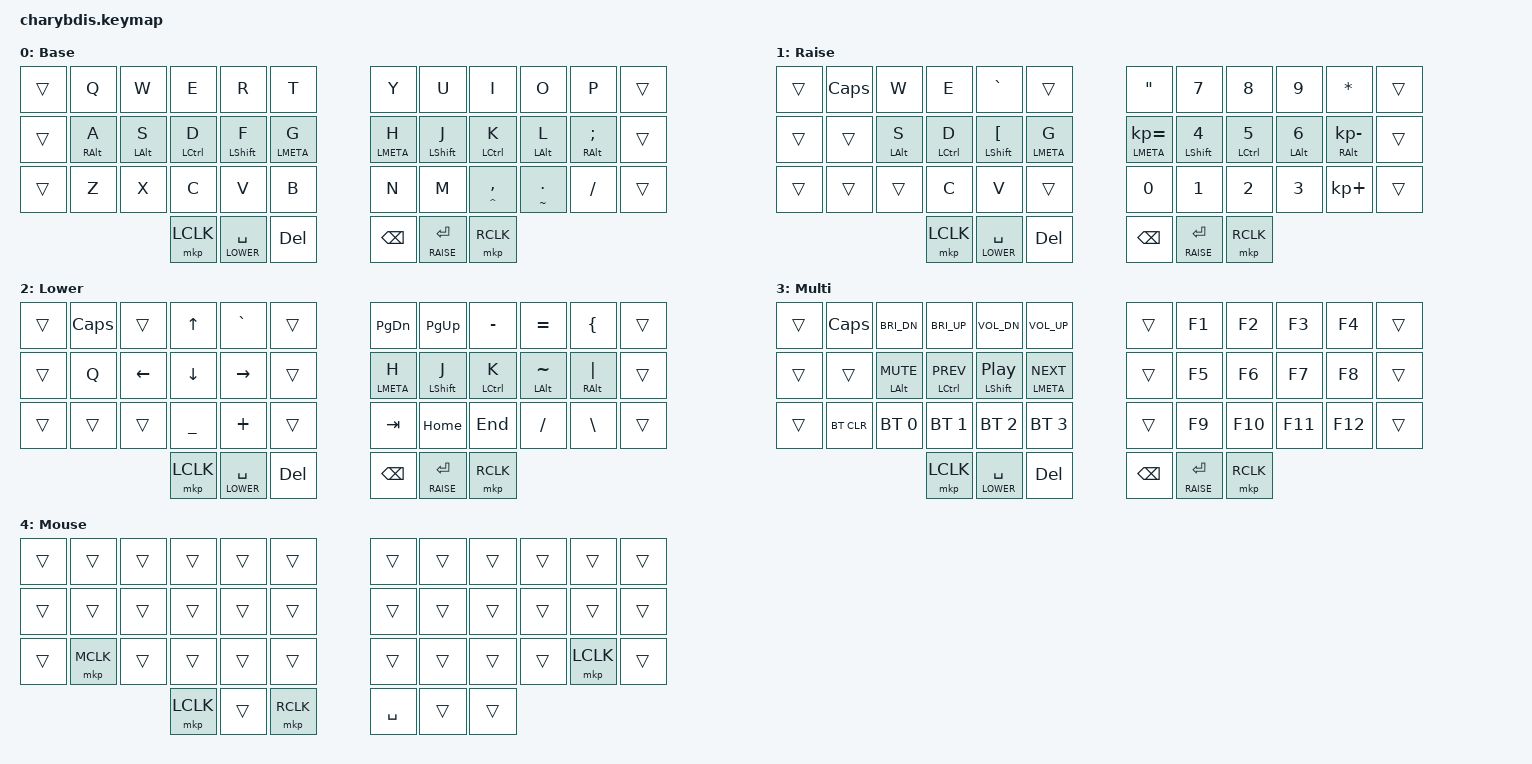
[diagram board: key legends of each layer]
#include <behaviors.dtsi>
#include <dt-bindings/zmk/keys.h>
#include <dt-bindings/zmk/bt.h>
#include <dt-bindings/zmk/ext_power.h>
#include <dt-bindings/zmk/mouse.h>
#include <dt-bindings/zmk/outputs.h>

#define DEFAULT 0
#define RAISE   1
#define LOWER   2
#define MULTI   3

/ {
    trackball_listener {
        compatible = "zmk,input-behavior-listener";
        device = <&vtrackball>;
        layers = <0 3 4 5>;
        evt-type = <INPUT_EV_REL>;
        x-input-code = <INPUT_REL_X>;
        y-input-code = <INPUT_REL_Y>;
        scale-multiplier = <1>;
        scale-divisor = <2>;
        bindings = <&ib_toggle_layer 5>;
    };

    trackball_snipe_listener {
        compatible = "zmk,input-behavior-listener";
        device = <&vtrackball>;
        layers = <>;
        evt-type = <INPUT_EV_REL>;
        x-input-code = <INPUT_REL_X>;
        y-input-code = <INPUT_REL_Y>;
        scale-multiplier = <1>;
        scale-divisor = <12>;
    };

    trackball_scroll_listener {
        compatible = "zmk,input-behavior-listener";
        device = <&vtrackball>;
        layers = <1 2>;
        evt-type = <INPUT_EV_REL>;
        x-input-code = <INPUT_REL_MISC>;
        y-input-code = <INPUT_REL_WHEEL>;
        y-invert;
        bindings = <&ib_wheel_scaler 1 16>;
    };

    trackball_hscroll_listener {
        compatible = "zmk,input-behavior-listener";
        device = <&vtrackball>;
        layers = <1 2>;
        evt-type = <INPUT_EV_REL>;
        x-input-code = <INPUT_REL_HWHEEL>;
        bindings = <&ib_hwheel_scaler 1 16>;
    };

    ib_wheel_scaler: ib_wheel_scaler {
        compatible = "zmk,input-behavior-scaler";
        #binding-cells = <2>;
        evt-type = <INPUT_EV_REL>;
        input-code = <INPUT_REL_WHEEL>;
    };

    ib_hwheel_scaler: ib_hwheel_scaler {
        compatible = "zmk,input-behavior-scaler";
        #binding-cells = <2>;
        evt-type = <INPUT_EV_REL>;
        input-code = <INPUT_REL_HWHEEL>;
    };

    ib_toggle_layer: ib_toggle_layer {
        compatible = "zmk,input-behavior-tog-layer";
        #binding-cells = <1>;
        time-to-live-ms = <750>;
    };

    behaviors {
        hm: homerow_mods {
            compatible = "zmk,behavior-hold-tap";
            label = "HOMEROW_MODS";
            #binding-cells = <2>;
            tapping-term-ms = <200>;
            quick-tap-ms = <125>;
            flavor = "tap-preferred";
            global-quick-tap;
            bindings = <&kp>, <&kp>;
        };
        lt: layer_tap {
            compatible = "zmk,behavior-hold-tap";
            #binding-cells = <2>;
            flavor = "balanced";
            tapping-term-ms = <240>;
            quick-tap-ms = <150>;
            bindings =
                <&mo>,
                <&kp>;
        };
    };
    conditional_layers {
        compatible = "zmk,conditional-layers";
        tri_layer {
            if-layers = <1 2>;
            then-layer = <3>;
        };
    };
    keymap {
        compatible = "zmk,keymap";

        Base {
//    ┏━━━━━━━━━━━━━━━┳━━━━━━━━━━━━━━━┳━━━━━━━━━━━━━━━┳━━━━━━━━━━━━━━━┳━━━━━━━━━━━━━━━┓  ┏━━━━━━━━━━━━━━━┳━━━━━━━━━━━━━━━┳━━━━━━━━━━━━━━━┳━━━━━━━━━━━━━━━┳━━━━━━━━━━━━━━━┓
//    ┃    CAPSLOCK   ┃               ┃               ┃               ┃               ┃  ┃               ┃               ┃               ┃               ┃               ┃
//    ┃      Q(')     ┃      W(,)     ┃      E(.)     ┃      R(P)     ┃      T(Y)     ┃  ┃      Y(F)     ┃      U(G)     ┃      I(C)     ┃      O(R)     ┃     P(L)      ┃
//    ┣━━━━━━━━━━━━━━━╋━━━━━━━━━━━━━━━╋━━━━━━━━━━━━━━━╋━━━━━━━━━━━━━━━╋━━━━━━━━━━━━━━━┫  ┣━━━━━━━━━━━━━━━╋━━━━━━━━━━━━━━━╋━━━━━━━━━━━━━━━╋━━━━━━━━━━━━━━━╋━━━━━━━━━━━━━━━┫
//    ┃      RALT     ┃      LALT     ┃      LCTRL    ┃     LSHIFT    ┃     LMETA     ┃  ┃     LMETA     ┃     LSHIFT    ┃     LCTRL     ┃      LALT     ┃     RALT      ┃
//    ┃      A(A)     ┃      S(O)     ┃      D(E)     ┃      F(U)     ┃      G(I)     ┃  ┃      H(D)     ┃      J(H)     ┃     K(T)      ┃      L(N)     ┃     ;(S)      ┃
//    ┣━━━━━━━━━━━━━━━╋━━━━━━━━━━━━━━━╋━━━━━━━━━━━━━━━╋━━━━━━━━━━━━━━━╋━━━━━━━━━━━━━━━┫  ┣━━━━━━━━━━━━━━━╋━━━━━━━━━━━━━━━╋━━━━━━━━━━━━━━━╋━━━━━━━━━━━━━━━╋━━━━━━━━━━━━━━━┫
//    ┃               ┃               ┃               ┃               ┃               ┃  ┃               ┃               ┃       ^       ┃       ~       ┃               ┃
//    ┃      Z(;)     ┃      X(Q)     ┃      C(J)     ┃      V(K)     ┃      B(X)     ┃  ┃      N(B)     ┃      M(M)     ┃     ,(W)      ┃      .(V)     ┃     /(Z)      ┃
//    ┗━━━━━━━━━━━━━━━┻━━━━━━━━━━━━━━━╋━━━━━━━━━━━━━━━╋━━━━━━━━━━━━━━━╋━━━━━━━━━━━━━━━┫  ┣━━━━━━━━━━━━━━━╋━━━━━━━━━━━━━━━╋━━━━━━━━━━━━━━━╋━━━━━━━━━━━━━━━┻━━━━━━━━━━━━━━━┛
//                                    ┃               ┃     LOWER     ┃               ┃  ┃               ┃     RAISE     ┃               ┃
//                                    ┃      LCLK     ┃     SPACE     ┃      DEL      ┃  ┃      BSPC     ┃      RET      ┃     RCLK      ┃
//                                    ┗━━━━━━━━━━━━━━━┻━━━━━━━━━━━━━━━┻━━━━━━━━━━━━━━━┛  ┗━━━━━━━━━━━━━━━┻━━━━━━━━━━━━━━━┻━━━━━━━━━━━━━━━┛
            label = "Base";
            bindings = <
//    ┏━━━━━━━━━━━━━━━┳━━━━━━━━━━━━━━━┳━━━━━━━━━━━━━━━┳━━━━━━━━━━━━━━━┳━━━━━━━━━━━━━━━┓  ┏━━━━━━━━━━━━━━━┳━━━━━━━━━━━━━━━┳━━━━━━━━━━━━━━━┳━━━━━━━━━━━━━━━┳━━━━━━━━━━━━━━━┓
//    ┃               ┃               ┃               ┃               ┃               ┃  ┃               ┃               ┃               ┃               ┃               ┃
//    ┃      Q(')     ┃      W(,)     ┃      E(.)     ┃      R(P)     ┃      T(Y)     ┃  ┃      Y(F)     ┃      U(G)     ┃      I(C)     ┃      O(R)     ┃     P(L)      ┃
&trans      &kp Q           &kp W           &kp E           &kp R           &kp T              &kp Y           &kp U           &kp I           &kp O          &kp P       &trans
//    ┣━━━━━━━━━━━━━━━╋━━━━━━━━━━━━━━━╋━━━━━━━━━━━━━━━╋━━━━━━━━━━━━━━━╋━━━━━━━━━━━━━━━┫  ┣━━━━━━━━━━━━━━━╋━━━━━━━━━━━━━━━╋━━━━━━━━━━━━━━━╋━━━━━━━━━━━━━━━╋━━━━━━━━━━━━━━━┫
//    ┃      RALT     ┃      LALT     ┃      LCTRL    ┃     LSHIFT    ┃     LMETA     ┃  ┃     LMETA     ┃     LSHIFT    ┃     LCTRL     ┃      LALT     ┃     RALT      ┃
//    ┃      A(A)     ┃      S(O)     ┃      D(E)     ┃      F(U)     ┃      G(I)     ┃  ┃      H(D)     ┃      J(H)     ┃     K(T)      ┃      L(N)     ┃     ;(S)      ┃
&trans   &hm RALT A      &hm LALT S      &hm LCTRL D    &hm LSHIFT F    &hm LMETA G        &hm LMETA H     &hm LSHIFT J    &hm LCTRL  K     &hm LALT L     &hm RALT SEMI   &trans
//    ┣━━━━━━━━━━━━━━━╋━━━━━━━━━━━━━━━╋━━━━━━━━━━━━━━━╋━━━━━━━━━━━━━━━╋━━━━━━━━━━━━━━━┫  ┣━━━━━━━━━━━━━━━╋━━━━━━━━━━━━━━━╋━━━━━━━━━━━━━━━╋━━━━━━━━━━━━━━━╋━━━━━━━━━━━━━━━┫
//    ┃               ┃               ┃               ┃               ┃               ┃  ┃               ┃               ┃       ^       ┃       ~       ┃               ┃
//    ┃      Z(;)     ┃      X(Q)     ┃      C(J)     ┃      V(K)     ┃      B(X)     ┃  ┃      N(B)     ┃      M(M)     ┃     ,(W)      ┃      .(V)     ┃     /(Z)      ┃
&trans   &kp Z           &kp X           &kp C           &kp V           &kp B              &kp N           &kp M         &hm CARET COMMA  &hm TILDE DOT     &kp FSLH      &trans
//    ┗━━━━━━━━━━━━━━━┻━━━━━━━━━━━━━━━╋━━━━━━━━━━━━━━━╋━━━━━━━━━━━━━━━╋━━━━━━━━━━━━━━━┫  ┣━━━━━━━━━━━━━━━╋━━━━━━━━━━━━━━━╋━━━━━━━━━━━━━━━╋━━━━━━━━━━━━━━━┻━━━━━━━━━━━━━━━┛
//                                    ┃               ┃     LOWER     ┃               ┃  ┃               ┃     RAISE     ┃               ┃
//                                    ┃      LCLK     ┃     SPACE     ┃      DEL      ┃  ┃      BSPC     ┃      RET      ┃     RCLK      ┃
                                        &mkp LCLK    &lt LOWER SPACE     &kp DEL            &kp BSPC       &lt RAISE RET  &mkp RCLK
//                                    ┗━━━━━━━━━━━━━━━┻━━━━━━━━━━━━━━━┻━━━━━━━━━━━━━━━┛  ┗━━━━━━━━━━━━━━━┻━━━━━━━━━━━━━━━┻━━━━━━━━━━━━━━━┛
            >;
        };

        raise_layer {
//    ┏━━━━━━━━━━━━━━━┳━━━━━━━━━━━━━━━┳━━━━━━━━━━━━━━━┳━━━━━━━━━━━━━━━┳━━━━━━━━━━━━━━━┓  ┏━━━━━━━━━━━━━━━┳━━━━━━━━━━━━━━━┳━━━━━━━━━━━━━━━┳━━━━━━━━━━━━━━━┳━━━━━━━━━━━━━━━┓
//    ┃               ┃               ┃               ┃               ┃               ┃  ┃               ┃               ┃               ┃               ┃               ┃
//    ┃    CAPSLOCK   ┃      W(,)     ┃      E(.)     ┃       `       ┃               ┃  ┃     "(_)      ┃       N7      ┃       N8      ┃       N9      ┃       *       ┃
//    ┣━━━━━━━━━━━━━━━╋━━━━━━━━━━━━━━━╋━━━━━━━━━━━━━━━╋━━━━━━━━━━━━━━━╋━━━━━━━━━━━━━━━┫  ┣━━━━━━━━━━━━━━━╋━━━━━━━━━━━━━━━╋━━━━━━━━━━━━━━━╋━━━━━━━━━━━━━━━╋━━━━━━━━━━━━━━━┫
//    ┃               ┃      LALT     ┃      LCTRL    ┃     LSHIFT    ┃     LMETA     ┃  ┃     LMETA     ┃     LSHIFT    ┃     LCTRL     ┃      LALT     ┃     RALT      ┃
//    ┃               ┃      S(O)     ┃      D(E)     ┃      [(/)     ┃      G(I)     ┃  ┃       =       ┃       N4      ┃       N5      ┃       N6      ┃      -        ┃
//    ┣━━━━━━━━━━━━━━━╋━━━━━━━━━━━━━━━╋━━━━━━━━━━━━━━━╋━━━━━━━━━━━━━━━╋━━━━━━━━━━━━━━━┫  ┣━━━━━━━━━━━━━━━╋━━━━━━━━━━━━━━━╋━━━━━━━━━━━━━━━╋━━━━━━━━━━━━━━━╋━━━━━━━━━━━━━━━┫
//    ┃               ┃               ┃               ┃               ┃               ┃  ┃               ┃               ┃               ┃               ┃               ┃
//    ┃               ┃               ┃      C(J)     ┃      V(K)     ┃               ┃  ┃       N0      ┃       N1      ┃       N2      ┃       N3      ┃      [(+)     ┃
//    ┗━━━━━━━━━━━━━━━┻━━━━━━━━━━━━━━━╋━━━━━━━━━━━━━━━╋━━━━━━━━━━━━━━━╋━━━━━━━━━━━━━━━┫  ┣━━━━━━━━━━━━━━━╋━━━━━━━━━━━━━━━╋━━━━━━━━━━━━━━━╋━━━━━━━━━━━━━━━┻━━━━━━━━━━━━━━━┛
//                                    ┃               ┃               ┃               ┃  ┃               ┃               ┃               ┃
//                                    ┃      LCLK     ┃     SPACE     ┃      DEL      ┃  ┃      BSPC     ┃      RET      ┃     RCLK      ┃
//                                    ┗━━━━━━━━━━━━━━━┻━━━━━━━━━━━━━━━┻━━━━━━━━━━━━━━━┛  ┗━━━━━━━━━━━━━━━┻━━━━━━━━━━━━━━━┻━━━━━━━━━━━━━━━┛
                        label = "Raise";
                        bindings = <
//    ┏━━━━━━━━━━━━━━━┳━━━━━━━━━━━━━━━┳━━━━━━━━━━━━━━━┳━━━━━━━━━━━━━━━┳━━━━━━━━━━━━━━━┓  ┏━━━━━━━━━━━━━━━┳━━━━━━━━━━━━━━━┳━━━━━━━━━━━━━━━┳━━━━━━━━━━━━━━━┳━━━━━━━━━━━━━━━┓
//    ┃               ┃               ┃               ┃               ┃               ┃  ┃               ┃               ┃               ┃               ┃               ┃
//    ┃    CAPSLOCK   ┃      W(,)     ┃      E(.)     ┃       `       ┃               ┃  ┃     "(_)      ┃       N7      ┃       N8      ┃       N9      ┃       *       ┃
&trans &kp CAPSLOCK         &kp W           &kp E          &kp GRAVE        &trans           &kp DQT          &kp N7          &kp N8          &kp N9         &kp STAR       &trans
//    ┣━━━━━━━━━━━━━━━╋━━━━━━━━━━━━━━━╋━━━━━━━━━━━━━━━╋━━━━━━━━━━━━━━━╋━━━━━━━━━━━━━━━┫  ┣━━━━━━━━━━━━━━━╋━━━━━━━━━━━━━━━╋━━━━━━━━━━━━━━━╋━━━━━━━━━━━━━━━╋━━━━━━━━━━━━━━━┫
//    ┃               ┃      LALT     ┃      LCTRL    ┃     LSHIFT    ┃     LMETA     ┃  ┃     LMETA     ┃     LSHIFT    ┃     LCTRL     ┃      LALT     ┃     RALT      ┃
//    ┃               ┃      S(O)     ┃      D(E)     ┃      [(/)     ┃      G(I)     ┃  ┃       =       ┃       N4      ┃       N5      ┃       N6      ┃      -        ┃
&trans     &trans        &hm LALT S      &hm LCTRL D     &hm LSHIFT LBKT  &hm LMETA G     &hm LMETA KP_EQUAL &hm LSHIFT N4   &hm LCTRL N5    &hm LALT N6  &hm RALT KP_MINUS  &trans
//    ┣━━━━━━━━━━━━━━━╋━━━━━━━━━━━━━━━╋━━━━━━━━━━━━━━━╋━━━━━━━━━━━━━━━╋━━━━━━━━━━━━━━━┫  ┣━━━━━━━━━━━━━━━╋━━━━━━━━━━━━━━━╋━━━━━━━━━━━━━━━╋━━━━━━━━━━━━━━━╋━━━━━━━━━━━━━━━┫
//    ┃               ┃               ┃               ┃               ┃               ┃  ┃               ┃               ┃               ┃               ┃               ┃
//    ┃               ┃               ┃      C(J)     ┃      V(K)     ┃               ┃  ┃       N0      ┃       N1      ┃       N2      ┃       N3      ┃      [(+)     ┃
&trans     &trans           &trans         &kp C           &kp V           &trans            &kp N0          &kp N1          &kp N2          &kp N3         &kp KP_PLUS     &trans
//    ┗━━━━━━━━━━━━━━━┻━━━━━━━━━━━━━━━╋━━━━━━━━━━━━━━━╋━━━━━━━━━━━━━━━╋━━━━━━━━━━━━━━━┫  ┣━━━━━━━━━━━━━━━╋━━━━━━━━━━━━━━━╋━━━━━━━━━━━━━━━╋━━━━━━━━━━━━━━━┻━━━━━━━━━━━━━━━┛
//                                    ┃               ┃               ┃               ┃  ┃               ┃               ┃               ┃
//                                    ┃      LCLK     ┃     SPACE     ┃      DEL      ┃  ┃      BSPC     ┃      RET      ┃     RCLK      ┃
                                        &mkp LCLK    &lt LOWER SPACE     &kp DEL            &kp BSPC       &lt RAISE RET  &mkp RCLK
//                                    ┗━━━━━━━━━━━━━━━┻━━━━━━━━━━━━━━━┻━━━━━━━━━━━━━━━┛  ┗━━━━━━━━━━━━━━━┻━━━━━━━━━━━━━━━┻━━━━━━━━━━━━━━━┛
                        >;
                };

        lower_layer {
//    ┏━━━━━━━━━━━━━━━┳━━━━━━━━━━━━━━━┳━━━━━━━━━━━━━━━┳━━━━━━━━━━━━━━━┳━━━━━━━━━━━━━━━┓  ┏━━━━━━━━━━━━━━━┳━━━━━━━━━━━━━━━┳━━━━━━━━━━━━━━━┳━━━━━━━━━━━━━━━┳━━━━━━━━━━━━━━━┓
//    ┃               ┃               ┃               ┃               ┃               ┃  ┃               ┃               ┃               ┃               ┃               ┃
//    ┃    CAPSLOCK   ┃               ┃       ↑       ┃       `       ┃               ┃  ┃   PAGE DOWN   ┃    PAGE UP    ┃      -([)     ┃      =(])     ┃     `(?)      ┃
//    ┣━━━━━━━━━━━━━━━╋━━━━━━━━━━━━━━━╋━━━━━━━━━━━━━━━╋━━━━━━━━━━━━━━━╋━━━━━━━━━━━━━━━┫  ┣━━━━━━━━━━━━━━━╋━━━━━━━━━━━━━━━╋━━━━━━━━━━━━━━━╋━━━━━━━━━━━━━━━╋━━━━━━━━━━━━━━━┫
//    ┃               ┃               ┃               ┃               ┃               ┃  ┃     LMETA     ┃     LSHIFT    ┃     LCTRL     ┃      LALT     ┃     RALT      ┃
//    ┃      Q(")     ┃       ←       ┃       ↓       ┃       →       ┃               ┃  ┃               ┃               ┃               ┃      ~(-)     ┃      |        ┃
//    ┣━━━━━━━━━━━━━━━╋━━━━━━━━━━━━━━━╋━━━━━━━━━━━━━━━╋━━━━━━━━━━━━━━━╋━━━━━━━━━━━━━━━┫  ┣━━━━━━━━━━━━━━━╋━━━━━━━━━━━━━━━╋━━━━━━━━━━━━━━━╋━━━━━━━━━━━━━━━╋━━━━━━━━━━━━━━━┫
//    ┃               ┃               ┃               ┃               ┃               ┃  ┃               ┃               ┃               ┃               ┃               ┃
//    ┃               ┃               ┃      _({)     ┃     +(})      ┃               ┃  ┃      TAB      ┃      HOME     ┃      END      ┃       (/)     ┃      (\)      ┃
//    ┗━━━━━━━━━━━━━━━┻━━━━━━━━━━━━━━━╋━━━━━━━━━━━━━━━╋━━━━━━━━━━━━━━━╋━━━━━━━━━━━━━━━┫  ┣━━━━━━━━━━━━━━━╋━━━━━━━━━━━━━━━╋━━━━━━━━━━━━━━━╋━━━━━━━━━━━━━━━┻━━━━━━━━━━━━━━━┛
//                                    ┃               ┃               ┃               ┃  ┃               ┃               ┃               ┃
//                                    ┃               ┃               ┃               ┃  ┃               ┃               ┃               ┃
//                                    ┗━━━━━━━━━━━━━━━┻━━━━━━━━━━━━━━━┻━━━━━━━━━━━━━━━┛  ┗━━━━━━━━━━━━━━━┻━━━━━━━━━━━━━━━┻━━━━━━━━━━━━━━━┛
                        label = "Lower";
                        bindings = <
							// incluir `
//    ┏━━━━━━━━━━━━━━━┳━━━━━━━━━━━━━━━┳━━━━━━━━━━━━━━━┳━━━━━━━━━━━━━━━┳━━━━━━━━━━━━━━━┓  ┏━━━━━━━━━━━━━━━┳━━━━━━━━━━━━━━━┳━━━━━━━━━━━━━━━┳━━━━━━━━━━━━━━━┳━━━━━━━━━━━━━━━┓
//    ┃               ┃               ┃               ┃               ┃               ┃  ┃               ┃               ┃               ┃               ┃               ┃
//    ┃    CAPSLOCK   ┃               ┃       ↑       ┃       `       ┃               ┃  ┃   PAGE DOWN   ┃    PAGE UP    ┃      -([)     ┃      =(])     ┃     `(?)      ┃
&trans &kp CAPSLOCK        &trans          &kp UP          &kp GRAVE       &trans            &kp PG_DN        &kp PG_UP      &kp MINUS     &kp EQUAL       &kp LBRC       &trans
//    ┣━━━━━━━━━━━━━━━╋━━━━━━━━━━━━━━━╋━━━━━━━━━━━━━━━╋━━━━━━━━━━━━━━━╋━━━━━━━━━━━━━━━┫  ┣━━━━━━━━━━━━━━━╋━━━━━━━━━━━━━━━╋━━━━━━━━━━━━━━━╋━━━━━━━━━━━━━━━╋━━━━━━━━━━━━━━━┫
//    ┃               ┃               ┃               ┃               ┃               ┃  ┃     LMETA     ┃     LSHIFT    ┃     LCTRL     ┃      LALT     ┃     RALT      ┃
//    ┃      Q(")     ┃       ←       ┃       ↓       ┃       →       ┃               ┃  ┃               ┃               ┃               ┃      ~(-)     ┃      |        ┃
&trans      &kp Q         &kp LEFT        &kp DOWN        &kp RIGHT        &trans           &hm LMETA  H    &hm LSHIFT J     &hm LCTRL K  &hm LALT TILDE   &hm RALT PIPE    &trans
//    ┣━━━━━━━━━━━━━━━╋━━━━━━━━━━━━━━━╋━━━━━━━━━━━━━━━╋━━━━━━━━━━━━━━━╋━━━━━━━━━━━━━━━┫  ┣━━━━━━━━━━━━━━━╋━━━━━━━━━━━━━━━╋━━━━━━━━━━━━━━━╋━━━━━━━━━━━━━━━╋━━━━━━━━━━━━━━━┫
//    ┃               ┃               ┃               ┃               ┃               ┃  ┃               ┃               ┃               ┃               ┃               ┃
//    ┃               ┃               ┃      _({)     ┃     +(})      ┃               ┃  ┃      TAB      ┃      HOME     ┃      END      ┃       (/)     ┃      (\)      ┃
&trans      &trans         &trans         &kp UNDER       &kp PLUS         &trans            &kp TAB         &kp HOME        &kp END         &kp FSLH        &kp BSLH       &trans
//    ┗━━━━━━━━━━━━━━━┻━━━━━━━━━━━━━━━╋━━━━━━━━━━━━━━━╋━━━━━━━━━━━━━━━╋━━━━━━━━━━━━━━━┫  ┣━━━━━━━━━━━━━━━╋━━━━━━━━━━━━━━━╋━━━━━━━━━━━━━━━╋━━━━━━━━━━━━━━━┻━━━━━━━━━━━━━━━┛
//                                    ┃               ┃               ┃               ┃  ┃               ┃               ┃               ┃
//                                    ┃      LCLK     ┃     SPACE     ┃      DEL      ┃  ┃      BSPC     ┃      RET      ┃     RCLK      ┃
                                        &mkp LCLK    &lt LOWER SPACE     &kp DEL            &kp BSPC       &lt RAISE RET  &mkp RCLK
//                                    ┗━━━━━━━━━━━━━━━┻━━━━━━━━━━━━━━━┻━━━━━━━━━━━━━━━┛  ┗━━━━━━━━━━━━━━━┻━━━━━━━━━━━━━━━┻━━━━━━━━━━━━━━━┛
                        >;
                };

        multi_layer {
//    ┏━━━━━━━━━━━━━━━┳━━━━━━━━━━━━━━━┳━━━━━━━━━━━━━━━┳━━━━━━━━━━━━━━━┳━━━━━━━━━━━━━━━┓  ┏━━━━━━━━━━━━━━━┳━━━━━━━━━━━━━━━┳━━━━━━━━━━━━━━━┳━━━━━━━━━━━━━━━┳━━━━━━━━━━━━━━━┓
//    ┃               ┃               ┃               ┃               ┃               ┃  ┃               ┃               ┃               ┃               ┃               ┃
//    ┃    CAPSLOCK   ┃    C_BRI_DN   ┃    C_BRI_UP   ┃    C_VOL_DN   ┃    C_VOL_UP   ┃  ┃               ┃      F1       ┃      F2       ┃       F3      ┃       F4      ┃
//    ┣━━━━━━━━━━━━━━━╋━━━━━━━━━━━━━━━╋━━━━━━━━━━━━━━━╋━━━━━━━━━━━━━━━╋━━━━━━━━━━━━━━━┫  ┣━━━━━━━━━━━━━━━╋━━━━━━━━━━━━━━━╋━━━━━━━━━━━━━━━╋━━━━━━━━━━━━━━━╋━━━━━━━━━━━━━━━┫
//    ┃               ┃      LALT     ┃      LCTRL    ┃     LSHIFT    ┃     LMETA     ┃  ┃               ┃               ┃               ┃               ┃               ┃
//    ┃               ┃     C_MUTE    ┃     C_PREV    ┃  C_PLAY_PAUSE ┃     C_NEXT    ┃  ┃               ┃      F5       ┃      F6       ┃       F7      ┃       F8      ┃
//    ┣━━━━━━━━━━━━━━━╋━━━━━━━━━━━━━━━╋━━━━━━━━━━━━━━━╋━━━━━━━━━━━━━━━╋━━━━━━━━━━━━━━━┫  ┣━━━━━━━━━━━━━━━╋━━━━━━━━━━━━━━━╋━━━━━━━━━━━━━━━╋━━━━━━━━━━━━━━━╋━━━━━━━━━━━━━━━┫
//    ┃               ┃               ┃               ┃               ┃               ┃  ┃               ┃               ┃               ┃               ┃               ┃
//    ┃     BT_CLR    ┃    BT_SEL 0   ┃    BT_SEL 1   ┃    BT_SEL 2   ┃    BT_SEL 3   ┃  ┃               ┃      F9       ┃     F10       ┃       F11     ┃      F12      ┃
//    ┗━━━━━━━━━━━━━━━┻━━━━━━━━━━━━━━━╋━━━━━━━━━━━━━━━╋━━━━━━━━━━━━━━━╋━━━━━━━━━━━━━━━┫  ┣━━━━━━━━━━━━━━━╋━━━━━━━━━━━━━━━╋━━━━━━━━━━━━━━━╋━━━━━━━━━━━━━━━┻━━━━━━━━━━━━━━━┛
//                                    ┃               ┃               ┃               ┃  ┃               ┃               ┃               ┃
//                                    ┃      LCLK     ┃     SPACE     ┃      DEL      ┃  ┃      BSPC     ┃      RET      ┃      RCLK     ┃
//                                    ┗━━━━━━━━━━━━━━━┻━━━━━━━━━━━━━━━┻━━━━━━━━━━━━━━━┛  ┗━━━━━━━━━━━━━━━┻━━━━━━━━━━━━━━━┻━━━━━━━━━━━━━━━┛
                        label = "Multi";
                        bindings = <
//    ┏━━━━━━━━━━━━━━━┳━━━━━━━━━━━━━━━┳━━━━━━━━━━━━━━━┳━━━━━━━━━━━━━━━┳━━━━━━━━━━━━━━━┓  ┏━━━━━━━━━━━━━━━┳━━━━━━━━━━━━━━━┳━━━━━━━━━━━━━━━┳━━━━━━━━━━━━━━━┳━━━━━━━━━━━━━━━┓
//    ┃               ┃               ┃               ┃               ┃               ┃  ┃               ┃               ┃               ┃               ┃               ┃
//    ┃    CAPSLOCK   ┃    C_BRI_DN   ┃    C_BRI_UP   ┃    C_VOL_DN   ┃    C_VOL_UP   ┃  ┃               ┃      F1       ┃      F2       ┃       F3      ┃       F4      ┃
&trans  &kp CAPSLOCK   &kp C_BRI_DN    &kp C_BRI_UP    &kp C_VOL_DN    &kp C_VOL_UP            &trans         &kp F1          &kp F2           &kp F3          &kp F4      &trans
//    ┣━━━━━━━━━━━━━━━╋━━━━━━━━━━━━━━━╋━━━━━━━━━━━━━━━╋━━━━━━━━━━━━━━━╋━━━━━━━━━━━━━━━┫  ┣━━━━━━━━━━━━━━━╋━━━━━━━━━━━━━━━╋━━━━━━━━━━━━━━━╋━━━━━━━━━━━━━━━╋━━━━━━━━━━━━━━━┫
//    ┃               ┃      LALT     ┃      LCTRL    ┃     LSHIFT    ┃     LMETA     ┃  ┃               ┃               ┃               ┃               ┃               ┃
//    ┃               ┃     C_MUTE    ┃     C_PREV    ┃  C_PLAY_PAUSE ┃     C_NEXT    ┃  ┃               ┃      F5       ┃      F6       ┃       F7      ┃       F8      ┃
&trans      &trans     &hm LALT C_MUTE &hm LCTRL C_PREV &hm LSHIFT C_PLAY_PAUSE &hm LMETA C_NEXT &trans       &kp F5          &kp F6           &kp F7          &kp F8      &trans
//    ┣━━━━━━━━━━━━━━━╋━━━━━━━━━━━━━━━╋━━━━━━━━━━━━━━━╋━━━━━━━━━━━━━━━╋━━━━━━━━━━━━━━━┫  ┣━━━━━━━━━━━━━━━╋━━━━━━━━━━━━━━━╋━━━━━━━━━━━━━━━╋━━━━━━━━━━━━━━━╋━━━━━━━━━━━━━━━┫
//    ┃               ┃               ┃               ┃               ┃               ┃  ┃               ┃               ┃               ┃               ┃               ┃
//    ┃     BT_CLR    ┃    BT_SEL 0   ┃    BT_SEL 1   ┃    BT_SEL 2   ┃    BT_SEL 3   ┃  ┃               ┃      F9       ┃     F10       ┃       F11     ┃      F12      ┃
&trans   &bt BT_CLR      &bt BT_SEL 0    &bt BT_SEL 1    &bt BT_SEL 2    &bt BT_SEL 3          &trans         &kp F9         &kp F10           &kp F11        &kp F12      &trans
//    ┗━━━━━━━━━━━━━━━┻━━━━━━━━━━━━━━━╋━━━━━━━━━━━━━━━╋━━━━━━━━━━━━━━━╋━━━━━━━━━━━━━━━┫  ┣━━━━━━━━━━━━━━━╋━━━━━━━━━━━━━━━╋━━━━━━━━━━━━━━━╋━━━━━━━━━━━━━━━┻━━━━━━━━━━━━━━━┛
//                                    ┃               ┃               ┃               ┃  ┃               ┃               ┃               ┃
//                                    ┃      LCLK     ┃     SPACE     ┃      DEL      ┃  ┃      BSPC     ┃      RET      ┃      RCLK     ┃
                                        &mkp LCLK    &lt LOWER SPACE     &kp DEL            &kp BSPC       &lt RAISE RET   &mkp RCLK
//                                    ┗━━━━━━━━━━━━━━━┻━━━━━━━━━━━━━━━┻━━━━━━━━━━━━━━━┛  ┗━━━━━━━━━━━━━━━┻━━━━━━━━━━━━━━━┻━━━━━━━━━━━━━━━┛
                        >;
                };

        Mouse {
//    ┏━━━━━━━━━━━━━━━┳━━━━━━━━━━━━━━━┳━━━━━━━━━━━━━━━┳━━━━━━━━━━━━━━━┳━━━━━━━━━━━━━━━┓  ┏━━━━━━━━━━━━━━━┳━━━━━━━━━━━━━━━┳━━━━━━━━━━━━━━━┳━━━━━━━━━━━━━━━┳━━━━━━━━━━━━━━━┓
//    ┃               ┃               ┃               ┃               ┃               ┃  ┃               ┃               ┃               ┃               ┃               ┃
//    ┃               ┃               ┃               ┃               ┃               ┃  ┃               ┃               ┃               ┃               ┃               ┃
//    ┣━━━━━━━━━━━━━━━╋━━━━━━━━━━━━━━━╋━━━━━━━━━━━━━━━╋━━━━━━━━━━━━━━━╋━━━━━━━━━━━━━━━┫  ┣━━━━━━━━━━━━━━━╋━━━━━━━━━━━━━━━╋━━━━━━━━━━━━━━━╋━━━━━━━━━━━━━━━╋━━━━━━━━━━━━━━━┫
//    ┃               ┃               ┃               ┃               ┃               ┃  ┃               ┃               ┃               ┃               ┃               ┃
//    ┃               ┃               ┃               ┃               ┃               ┃  ┃               ┃               ┃               ┃               ┃               ┃
//    ┣━━━━━━━━━━━━━━━╋━━━━━━━━━━━━━━━╋━━━━━━━━━━━━━━━╋━━━━━━━━━━━━━━━╋━━━━━━━━━━━━━━━┫  ┣━━━━━━━━━━━━━━━╋━━━━━━━━━━━━━━━╋━━━━━━━━━━━━━━━╋━━━━━━━━━━━━━━━╋━━━━━━━━━━━━━━━┫
//    ┃               ┃               ┃               ┃               ┃               ┃  ┃               ┃               ┃               ┃               ┃               ┃
//    ┃               ┃               ┃               ┃               ┃               ┃  ┃               ┃               ┃               ┃               ┃               ┃
//    ┗━━━━━━━━━━━━━━━┻━━━━━━━━━━━━━━━╋━━━━━━━━━━━━━━━╋━━━━━━━━━━━━━━━╋━━━━━━━━━━━━━━━┫  ┣━━━━━━━━━━━━━━━╋━━━━━━━━━━━━━━━╋━━━━━━━━━━━━━━━╋━━━━━━━━━━━━━━━┻━━━━━━━━━━━━━━━┛
//                                    ┃               ┃               ┃               ┃  ┃               ┃               ┃               ┃
//                                    ┃               ┃               ┃               ┃  ┃               ┃               ┃               ┃
//                                    ┗━━━━━━━━━━━━━━━┻━━━━━━━━━━━━━━━┻━━━━━━━━━━━━━━━┛  ┗━━━━━━━━━━━━━━━┻━━━━━━━━━━━━━━━┻━━━━━━━━━━━━━━━┛
            bindings = <
//    ┏━━━━━━━━━━━━━━━┳━━━━━━━━━━━━━━━┳━━━━━━━━━━━━━━━┳━━━━━━━━━━━━━━━┳━━━━━━━━━━━━━━━┓  ┏━━━━━━━━━━━━━━━┳━━━━━━━━━━━━━━━┳━━━━━━━━━━━━━━━┳━━━━━━━━━━━━━━━┳━━━━━━━━━━━━━━━┓
//    ┃               ┃               ┃               ┃               ┃               ┃  ┃               ┃               ┃               ┃               ┃               ┃
//    ┃               ┃               ┃               ┃               ┃               ┃  ┃               ┃               ┃               ┃               ┃               ┃
&trans      &trans         &trans           &trans          &trans          &trans             &trans          &trans          &trans          &trans          &trans      &trans
//    ┣━━━━━━━━━━━━━━━╋━━━━━━━━━━━━━━━╋━━━━━━━━━━━━━━━╋━━━━━━━━━━━━━━━╋━━━━━━━━━━━━━━━┫  ┣━━━━━━━━━━━━━━━╋━━━━━━━━━━━━━━━╋━━━━━━━━━━━━━━━╋━━━━━━━━━━━━━━━╋━━━━━━━━━━━━━━━┫
//    ┃               ┃               ┃               ┃               ┃               ┃  ┃               ┃               ┃               ┃               ┃               ┃
//    ┃               ┃               ┃               ┃               ┃               ┃  ┃               ┃               ┃               ┃               ┃               ┃
&trans      &trans         &trans           &trans          &trans          &trans             &trans          &trans          &trans          &trans          &trans      &trans
//    ┣━━━━━━━━━━━━━━━╋━━━━━━━━━━━━━━━╋━━━━━━━━━━━━━━━╋━━━━━━━━━━━━━━━╋━━━━━━━━━━━━━━━┫  ┣━━━━━━━━━━━━━━━╋━━━━━━━━━━━━━━━╋━━━━━━━━━━━━━━━╋━━━━━━━━━━━━━━━╋━━━━━━━━━━━━━━━┫
//    ┃               ┃               ┃               ┃               ┃               ┃  ┃               ┃               ┃               ┃               ┃               ┃
//    ┃               ┃               ┃               ┃               ┃               ┃  ┃               ┃               ┃               ┃               ┃               ┃
&trans    &mkp MCLK        &trans           &trans          &trans          &trans             &trans          &trans          &trans          &trans         &mkp LCLK    &trans
//    ┗━━━━━━━━━━━━━━━┻━━━━━━━━━━━━━━━╋━━━━━━━━━━━━━━━╋━━━━━━━━━━━━━━━╋━━━━━━━━━━━━━━━┫  ┣━━━━━━━━━━━━━━━╋━━━━━━━━━━━━━━━╋━━━━━━━━━━━━━━━╋━━━━━━━━━━━━━━━┻━━━━━━━━━━━━━━━┛
//                                    ┃               ┃               ┃               ┃  ┃               ┃               ┃               ┃
//                                    ┃      LCLK     ┃               ┃      RCLK     ┃  ┃     SPACE     ┃               ┃               ┃
                                        &mkp LCLK           &trans        &mkp RCLK        &kp SPACE           &trans          &trans
//                                    ┗━━━━━━━━━━━━━━━┻━━━━━━━━━━━━━━━┻━━━━━━━━━━━━━━━┛  ┗━━━━━━━━━━━━━━━┻━━━━━━━━━━━━━━━┻━━━━━━━━━━━━━━━┛
            >;
        };
    };
};
